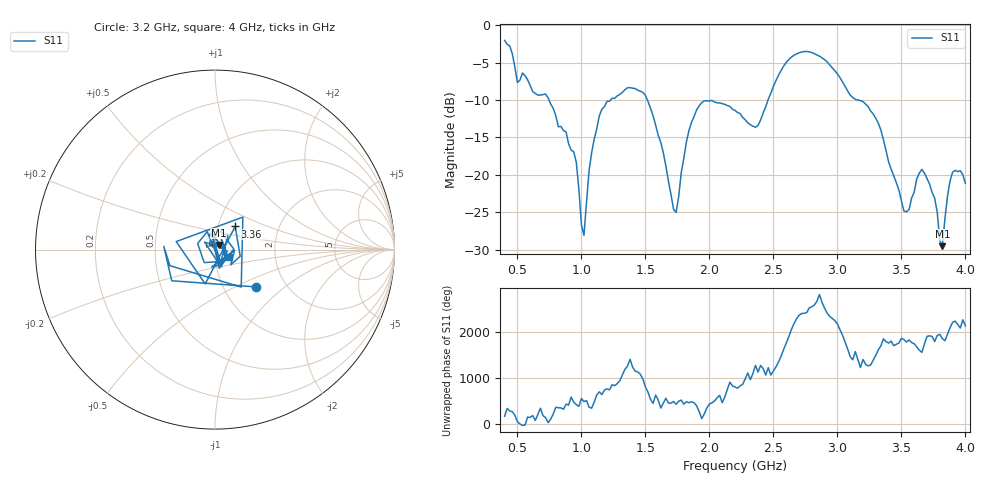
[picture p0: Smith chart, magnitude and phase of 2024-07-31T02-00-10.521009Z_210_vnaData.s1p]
!Created with skrf (http://scikit-rf.org).
# Hz S RI R 50.0
!freq ReS11 ImS11
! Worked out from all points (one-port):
!   181 points, 400 MHz to 4 GHz, reference 50 ohm
!   lowest |S11| = -29.6 dB at 3.82 GHz (marker M1), VSWR 1.07, Z = 52 + j2.76 ohm
!   |S11| at or under -10 dB: 746.8 MHz to 1.228 GHz (481.4 MHz wide, 48.8 % of centre); 1.515 GHz to 2.458 GHz (942.5 MHz wide, 47.4 % of centre); 3.158 GHz to end of sweep
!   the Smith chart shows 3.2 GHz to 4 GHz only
!   S11 on the Smith chart (normalised r, x): 3.2 GHz: 1.42, -0.65; 3.36 GHz: 1.21, +0.32; 4 GHz: 1.16, -0.10
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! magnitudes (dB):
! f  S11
! 400 MHz  -2.0
! 500 MHz  -7.7
! 720 MHz  -9.2
! 860 MHz  -14.1
! 960 MHz  -18.3
! 1.02 GHz  -28.1
! 1.06 GHz  -19.4
! 1.14 GHz  -12.1
! 1.3 GHz  -9.3
! 1.5 GHz  -9.4
! 1.72 GHz  -24.6
! 1.76 GHz  -22.9
! 1.84 GHz  -14.1
! 1.92 GHz  -10.8
! 2.2 GHz  -11.4
! 2.38 GHz  -13.4
! 2.66 GHz  -4.0
! 2.88 GHz  -4.4
! 3.1 GHz  -9.3
! 3.2 GHz  -10.2
! 3.36 GHz  -15.3
! 3.52 GHz  -24.9
! 3.56 GHz  -24.6
! 3.66 GHz  -19.3
! 3.76 GHz  -23.1
! 3.82 GHz  -29.6
! 3.9 GHz  -19.7
! 4 GHz  -21.1
